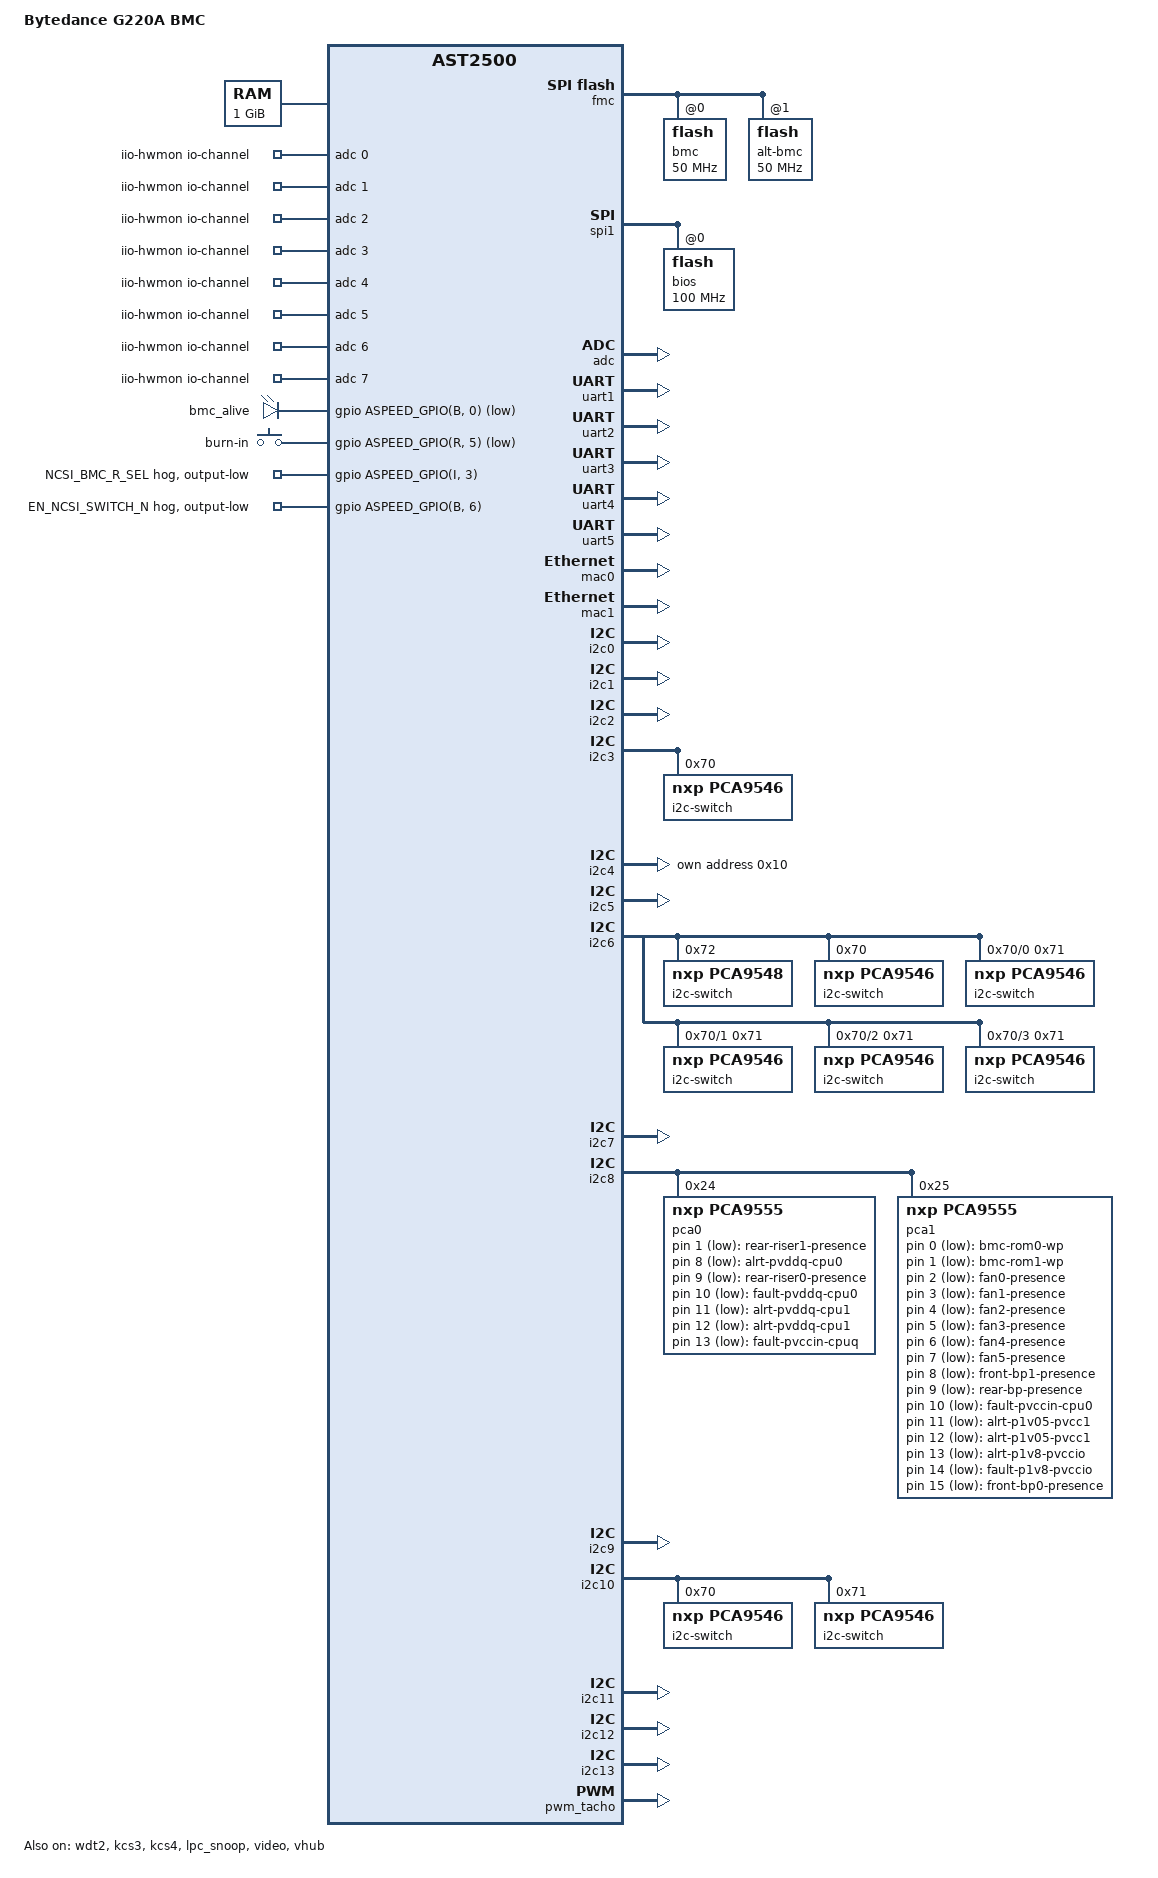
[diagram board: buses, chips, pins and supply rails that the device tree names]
// SPDX-License-Identifier: GPL-2.0+
// Copyright (C) 2020 Bytedance.
/dts-v1/;

#include "aspeed-g5.dtsi"
#include <dt-bindings/gpio/aspeed-gpio.h>
#include <dt-bindings/i2c/i2c.h>
#include <dt-bindings/leds/leds-pca955x.h>

/ {
	model = "Bytedance G220A BMC";
	compatible = "bytedance,g220a-bmc", "aspeed,ast2500";

	aliases {
		serial4 = &uart5;
		i2c14 = &channel_3_0;
		i2c15 = &channel_3_1;
		i2c16 = &channel_3_2;
		i2c17 = &channel_3_3;
		i2c18 = &channel_6_0;
		i2c19 = &channel_6_1;
		i2c20 = &channel_6_2;
		i2c21 = &channel_6_3;
		i2c22 = &channel_6_4;
		i2c23 = &channel_6_5;
		i2c24 = &channel_6_6;
		i2c25 = &channel_6_7;
		i2c26 = &channel_6_8;
		i2c27 = &channel_6_9;
		i2c28 = &channel_6_10;
		i2c29 = &channel_6_11;
		i2c30 = &channel_6_12;
		i2c31 = &channel_6_13;
		i2c32 = &channel_6_14;
		i2c33 = &channel_6_15;
		i2c34 = &channel_6_16;
		i2c35 = &channel_6_17;
		i2c36 = &channel_6_18;
		i2c37 = &channel_6_19;
		i2c38 = &channel_6_20;
		i2c39 = &channel_6_21;
		i2c40 = &channel_6_22;
		i2c41 = &channel_6_23;
		i2c42 = &channel_6_24;
		i2c43 = &channel_6_25;
		i2c44 = &channel_10_0;
		i2c45 = &channel_10_1;
		i2c46 = &channel_10_2;
		i2c47 = &channel_10_3;
		i2c48 = &channel_10_4;
		i2c49 = &channel_10_5;
		i2c50 = &channel_10_6;
		i2c51 = &channel_10_7;
	};

	chosen {
		stdout-path = &uart5;
		bootargs = "console=ttyS4,115200 earlycon";
	};

	memory@80000000 {
		reg = <0x80000000 0x40000000>;
	};

	reserved-memory {
		#address-cells = <1>;
		#size-cells = <1>;
		ranges;

		vga_memory: framebuffer@bc000000 {
			no-map;
			reg = <0xbc000000 0x04000000>; /* 64M */
		};

		video_engine_memory: jpegbuffer {
			size = <0x02000000>;	/* 32M */
			alignment = <0x01000000>;
			compatible = "shared-dma-pool";
			reusable;
		};
	};

	iio-hwmon {
		compatible = "iio-hwmon";
		io-channels = <&adc 0>, <&adc 1>, <&adc 2>, <&adc 3>,
			<&adc 4>, <&adc 5>, <&adc 6>, <&adc 7>,
			<&adc 8>, <&adc 9>, <&adc 10>, <&adc 11>,
			<&adc 12>, <&adc 13>, <&adc 14>, <&adc 15>;
	};

	leds {
		compatible = "gpio-leds";
		bmc_alive {
			label = "bmc_alive";
			gpios = <&gpio ASPEED_GPIO(B, 0) GPIO_ACTIVE_LOW>;
			linux,default-trigger = "timer";
			led-pattern = <1000 1000>;
		};
	};

	gpio-keys {
		compatible = "gpio-keys";
		burn-in-signal {
			label = "burn-in";
			gpios = <&gpio ASPEED_GPIO(R, 5) GPIO_ACTIVE_LOW>;
			linux,code = <ASPEED_GPIO(R, 5)>;
		};
	};

	gpio-keys-polled {
		compatible = "gpio-keys-polled";
		poll-interval = <1000>;

		rear-riser1-presence {
			label = "rear-riser1-presence";
			gpios = <&pca0 1 GPIO_ACTIVE_LOW>;
			linux,code = <1>;
		};

		alrt-pvddq-cpu0 {
			label = "alrt-pvddq-cpu0";
			gpios = <&pca0 8 GPIO_ACTIVE_LOW>;
			linux,code = <2>;
		};

		rear-riser0-presence {
			label = "rear-riser0-presence";
			gpios = <&pca0 9 GPIO_ACTIVE_LOW>;
			linux,code = <3>;
		};

		fault-pvddq-cpu0 {
			label = "fault-pvddq-cpu0";
			gpios = <&pca0 10 GPIO_ACTIVE_LOW>;
			linux,code = <4>;
		};

		alrt-pvddq-cpu1 {
			label = "alrt-pvddq-cpu1";
			gpios = <&pca0 11 GPIO_ACTIVE_LOW>;
			linux,code = <5>;
		};

		fault-pvddq-cpu1 {
			label = "alrt-pvddq-cpu1";
			gpios = <&pca0 12 GPIO_ACTIVE_LOW>;
			linux,code = <6>;
		};

		fault-pvccin-cpu1 {
			label = "fault-pvccin-cpuq";
			gpios = <&pca0 13 GPIO_ACTIVE_LOW>;
			linux,code = <7>;
		};

		bmc-rom0-wp {
			label = "bmc-rom0-wp";
			gpios = <&pca1 0 GPIO_ACTIVE_LOW>;
			linux,code = <8>;
		};

		bmc-rom1-wp {
			label = "bmc-rom1-wp";
			gpios = <&pca1 1 GPIO_ACTIVE_LOW>;
			linux,code = <9>;
		};

		fan0-presence {
			label = "fan0-presence";
			gpios = <&pca1 2 GPIO_ACTIVE_LOW>;
			linux,code = <10>;
		};

		fan1-presence {
			label = "fan1-presence";
			gpios = <&pca1 3 GPIO_ACTIVE_LOW>;
			linux,code = <11>;
		};

		fan2-presence {
			label = "fan2-presence";
			gpios = <&pca1 4 GPIO_ACTIVE_LOW>;
			linux,code = <12>;
		};

		fan3-presence {
			label = "fan3-presence";
			gpios = <&pca1 5 GPIO_ACTIVE_LOW>;
			linux,code = <13>;
		};

		fan4-presence {
			label = "fan4-presence";
			gpios = <&pca1 6 GPIO_ACTIVE_LOW>;
			linux,code = <14>;
		};

		fan5-presence {
			label = "fan5-presence";
			gpios = <&pca1 7 GPIO_ACTIVE_LOW>;
			linux,code = <15>;
		};

		front-bp1-presence {
			label = "front-bp1-presence";
			gpios = <&pca1 8 GPIO_ACTIVE_LOW>;
			linux,code = <16>;
		};

		rear-bp-presence {
			label = "rear-bp-presence";
			gpios = <&pca1 9 GPIO_ACTIVE_LOW>;
			linux,code = <17>;
		};

		fault-pvccin-cpu0 {
			label = "fault-pvccin-cpu0";
			gpios = <&pca1 10 GPIO_ACTIVE_LOW>;
			linux,code = <18>;
		};

		alrt-p1v05-pvcc {
			label = "alrt-p1v05-pvcc1";
			gpios = <&pca1 11 GPIO_ACTIVE_LOW>;
			linux,code = <19>;
		};

		fault-p1v05-pvccio {
			label = "alrt-p1v05-pvcc1";
			gpios = <&pca1 12 GPIO_ACTIVE_LOW>;
			linux,code = <20>;
		};

		alrt-p1v8-pvccio {
			label = "alrt-p1v8-pvccio";
			gpios = <&pca1 13 GPIO_ACTIVE_LOW>;
			linux,code = <21>;
		};

		fault-p1v8-pvccio {
			label = "fault-p1v8-pvccio";
			gpios = <&pca1 14 GPIO_ACTIVE_LOW>;
			linux,code = <22>;
		};

		front-bp0-presence {
			label = "front-bp0-presence";
			gpios = <&pca1 15 GPIO_ACTIVE_LOW>;
			linux,code = <23>;
		};
	};
};

&fmc {
	status = "okay";
	flash@0 {
		status = "okay";
		label = "bmc";
		m25p,fast-read;
		spi-max-frequency = <50000000>;
#include "openbmc-flash-layout-64.dtsi"
	};
	flash@1 {
		status = "okay";
		label = "alt-bmc";
		m25p,fast-read;
		spi-max-frequency = <50000000>;
#include "openbmc-flash-layout-64-alt.dtsi"
	};
};

&spi1 {
	status = "okay";
	pinctrl-names = "default";
	pinctrl-0 = <&pinctrl_spi1_default>;
	flash@0 {
		status = "okay";
		m25p,fast-read;
		label = "bios";
		spi-max-frequency = <100000000>;
	};
};

&adc {
	status = "okay";
};

&wdt2 {
	status = "okay";
	aspeed,alt-boot;
};

&gpio {
	status = "okay";
	gpio-line-names =
	/*A0-A7*/	"SMRST_OCP_N","MAC2_LINK","BMC_CPLD_SMB_RST_R_N","BMC_CPLD_GPIO0",
			"","","","",
	/*B0-B7*/	"BMC_INIT_R_OK","FM_BOARD_REV_ID2","FM_PROJECT_ID7","FAULT_P12V_STBY_N",
			"","CPU0_PROCHOT_LVT3_N","","BIOS_LOAD_DEFAULT_R_N",
	/*C0-C7*/	"","","","","","","","",
	/*D0-D7*/	"","","","","","","","",
	/*E0-E7*/	"FM_PROJECT_ID0","FM_PROJECT_ID1","FM_PROJECT_ID2","FM_PROJECT_ID3",
			"FM_PROJECT_ID4","FM_PROJECT_ID5","","",
	/*F0-F7*/	"PSU0_PRSNT_N","PSU1_PRSNT_N","","FAULT_P12V_NVME_N",
			"BIOS_DEBUG_MODE_R_N","DISABLE_CPU_DDR_R_SPD","COOLING_STRATEGY",
			"PCH_GLB_RST_N",
	/*G0-G7*/	"P12V_PMBUS_ALERT_N","CPLD_ALERT_N","BMC_RELOAD_N",
			"P12V_PVDDQ_PMBUS_ALERT_N","BMC_JTAG_TCK_MUX_R_SEL","","NMI_OUT",
			"NMI_BUTTON",
	/*H0-H7*/	"BMC_CPLD_JTAG_TDI","BMC_CPLD_JTAG_TDO","BMC_CPLD_JTAG_TCK",
			"BMC_CPLD_JTAG_TMS","FM_PROJECT_ID6","FM_BOARD_REV_ID0",
			"PCA9546_U70_RST_N","IRQ_SML0_ALERT_N",
	/*I0-I7*/	"FAULT_FRONT_RISER_P12V_N","FAULT_OCP_P12V_N","FM_BMC_PCH_SCI_R_N",
			"","","","","",
	/*J0-J7*/	"FM_CPU0_SKTOCC_N","FM_CPU1_SKTOCC_N","FM_CPU1_DISABLE_COD_N",
			"","","","","",
	/*K0-K7*/	"","","","","","","","",
	/*L0-L7*/	"P12V_FAULT_N","PWRGD_P12V_PCIE_RISER","","LEAKAGE_DETECT_INPUT_N",
			"","IRQ_SML1_PMBUS_ALERT_N","","",
	/*M0-M7*/	"","","","","","","","",
	/*N0-N7*/	"","","","","","","","",
	/*O0-O7*/	"","","","","","","","",
	/*P0-P7*/	"","","","","","","","",
	/*Q0-Q7*/	"","","","","","","FM_PCH_THERMTRIP_N","CHASSIS_INTRUSION",
	/*R0-R7*/	"","PVCCIN_CPU1_SMBALERT_N","BMC_PREQ_R_N","FAULT_P12V_PCIE_RISER_N",
			"ALT_P12V_PCIE_RISER_N","BURN_BOARD_N","PVCCIN_CPU0_SMBALERT_N","",
	/*S0-S7*/	"BMC_PRDY_N","SIO_POWER_GOOD","FM_BMC_PWR_DEBUG_R_N",
			"FM_BMC_XDP_DEBUG_EN","","STRAP_BMC_BATTERY_GPIOS5","","",
	/*T0-T7*/	"","","","","","","","",
	/*U0-U7*/	"","","","","","","","",
	/*V0-V7*/	"","","","","","","","",
	/*W0-W7*/	"","","","","","","","",
	/*X0-X7*/	"","","","","","","","",
	/*Y0-Y7*/	"","PWRGD_PSU0_PWROK","CPU1_PROCHOT_LVT3_N","IRQ_BMC_PCH_SMI_LPC_N",
			"","","","",
	/*Z0-Z7*/	"XDP_PRSNT_N","BMC_XDP_SYS_PWROK","BMC_XDP_JTAG_SEL",
			"PCH_BMC_SMI_ACTIVE_R_N","","","","",
	/*AA0-AA7*/	"PWRGD_P12V_STBY_OCP","PS_PWROK","RST_PLTRST_BMC_R_N","HDA_SDO_R",
			"FM_SLPS4_R_N","PWRGD_PSU1_PWROK","POWER_BUTTON","POWER_OUT",
	/*AB0-AB7*/	"","RESET_OUT","SPI_BIOS_MODE_SELECT","POST_COMPLETE","","","","",
	/*AC0-AC7*/	"","","","","","","","CPLD_PLTRST_B_N";
};

&kcs3 {
	aspeed,lpc-io-reg = <0xCA2>;
	status = "okay";
};

&kcs4 {
	aspeed,lpc-io-reg = <0xCA4>;
	status = "okay";
};

&lpc_snoop {
	snoop-ports = <0x80>;
	status = "okay";
};

&uart1 {
	status = "okay";
	pinctrl-names = "default";
	pinctrl-0 = <&pinctrl_txd1_default
			&pinctrl_rxd1_default
			&pinctrl_nrts1_default
			&pinctrl_ndtr1_default
			&pinctrl_ndsr1_default
			&pinctrl_ncts1_default
			&pinctrl_ndcd1_default
			&pinctrl_nri1_default>;
};

&uart2 {
	status = "okay";
	pinctrl-names = "default";
	pinctrl-0 = <&pinctrl_txd2_default
			&pinctrl_rxd2_default
			&pinctrl_nrts2_default
			&pinctrl_ndtr2_default
			&pinctrl_ndsr2_default
			&pinctrl_ncts2_default
			&pinctrl_ndcd2_default
			&pinctrl_nri2_default>;
};

&uart3 {
	status = "okay";
};

&uart4 {
	status = "okay";
};

&uart5 {
	status = "okay";
};

&mac0 {
	status = "okay";
	pinctrl-names = "default";
	pinctrl-0 = <&pinctrl_rmii1_default>;
	clocks = <&syscon ASPEED_CLK_GATE_MAC1CLK>,
		 <&syscon ASPEED_CLK_MAC1RCLK>;
	clock-names = "MACCLK", "RCLK";
	use-ncsi;
};

&mac1 {
	status = "okay";
	pinctrl-names = "default";
	pinctrl-0 = <&pinctrl_rgmii2_default &pinctrl_mdio2_default>;
};

&i2c0 {
	status = "okay";
};

&i2c1 {
	status = "okay";
};

&i2c2 {
	status = "okay";
};

&i2c3 {
	status = "okay";
	i2c-switch@70 {
		compatible = "nxp,pca9546";
		reg = <0x70>;
		#address-cells = <1>;
		#size-cells = <0>;

		channel_3_0: i2c@0 {
			#address-cells = <1>;
			#size-cells = <0>;
			reg = <0>;
		};

		channel_3_1: i2c@1 {
			#address-cells = <1>;
			#size-cells = <0>;
			reg = <1>;
		};

		channel_3_2: i2c@2 {
			#address-cells = <1>;
			#size-cells = <0>;
			reg = <2>;
		};

		channel_3_3: i2c@3 {
			#address-cells = <1>;
			#size-cells = <0>;
			reg = <3>;
		};
	};
};

&i2c4 {
	status = "okay";
	ipmb0@10 {
		compatible = "ipmb-dev";
		reg = <(0x10 | I2C_OWN_SLAVE_ADDRESS)>;
		i2c-protocol;
	};
};

&i2c5 {
	status = "okay";
};

&i2c6 {
	status = "okay";
	i2c-switch@72 {
		compatible = "nxp,pca9548";
		reg = <0x72>;
		#address-cells = <1>;
		#size-cells = <0>;
		channel_6_0: i2c@0 {
			#address-cells = <1>;
			#size-cells = <0>;
			reg = <0>;
		};

		channel_6_1: i2c@1 {
			#address-cells = <1>;
			#size-cells = <0>;
			reg = <1>;
		};

		channel_6_2: i2c@2 {
			#address-cells = <1>;
			#size-cells = <0>;
			reg = <2>;
		};

		channel_6_3: i2c@3 {
			#address-cells = <1>;
			#size-cells = <0>;
			reg = <3>;
		};
		channel_6_4: i2c@4 {
			#address-cells = <1>;
			#size-cells = <0>;
			reg = <4>;
		};

		channel_6_5: i2c@5 {
			#address-cells = <1>;
			#size-cells = <0>;
			reg = <5>;
		};

		channel_6_6: i2c@6 {
			#address-cells = <1>;
			#size-cells = <0>;
			reg = <6>;
		};

		channel_6_7: i2c@7 {
			#address-cells = <1>;
			#size-cells = <0>;
			reg = <7>;
		};
	};

	i2c-switch@70 {
		compatible = "nxp,pca9546";
		reg = <0x70>;
		#address-cells = <1>;
		#size-cells = <0>;
		channel_6_8: i2c@0 {
			#address-cells = <1>;
			#size-cells = <0>;
			reg = <0>;
			i2c-switch@71 {
				compatible = "nxp,pca9546";
				reg = <0x71>;
				#address-cells = <1>;
				#size-cells = <0>;
				channel_6_12: i2c@0 {
					#address-cells = <1>;
					#size-cells = <0>;
					reg = <0>;

				};

				channel_6_13: i2c@1 {
					#address-cells = <1>;
					#size-cells = <0>;
					reg = <1>;
				};

				channel_6_14: i2c@2 {
					#address-cells = <1>;
					#size-cells = <0>;
					reg = <2>;
				};

				channel_6_15: i2c@3 {
					#address-cells = <1>;
					#size-cells = <0>;
					reg = <3>;
				};
			};
		 };

		channel_6_9: i2c@1 {
			#address-cells = <1>;
			#size-cells = <0>;
			reg = <1>;
			i2c-switch@71 {
				compatible = "nxp,pca9546";
				reg = <0x71>;
				#address-cells = <1>;
				#size-cells = <0>;
				channel_6_16: i2c@0 {
					#address-cells = <1>;
					#size-cells = <0>;
					reg = <0>;

				};

				channel_6_17: i2c@1 {
					#address-cells = <1>;
					#size-cells = <0>;
					reg = <1>;
				};

				channel_6_18: i2c@2 {
					#address-cells = <1>;
					#size-cells = <0>;
					reg = <2>;
				};

				channel_6_19: i2c@3 {
					#address-cells = <1>;
					#size-cells = <0>;
					reg = <3>;
				};
			};
		 };

		channel_6_10: i2c@2 {
			#address-cells = <1>;
			#size-cells = <0>;
			reg = <2>;
			i2c-switch@71 {
				compatible = "nxp,pca9546";
				reg = <0x71>;
				#address-cells = <1>;
				#size-cells = <0>;
				channel_6_20: i2c@0 {
					#address-cells = <1>;
					#size-cells = <0>;
					reg = <0>;
				};

				channel_6_21: i2c@1 {
					#address-cells = <1>;
					#size-cells = <0>;
					reg = <1>;
				};

				channel_6_22: i2c@2 {
					#address-cells = <1>;
					#size-cells = <0>;
					reg = <2>;
				};

				channel_6_23: i2c@3 {
					#address-cells = <1>;
					#size-cells = <0>;
					reg = <3>;
				};
			};
		 };

		channel_6_11: i2c@3 {
			#address-cells = <1>;
			#size-cells = <0>;
			reg = <3>;
			i2c-switch@71 {
				compatible = "nxp,pca9546";
				reg = <0x71>;
				#address-cells = <1>;
				#size-cells = <0>;
				channel_6_24: i2c@0 {
					#address-cells = <1>;
					#size-cells = <0>;
					reg = <0>;
				};

				channel_6_25: i2c@1 {
					#address-cells = <1>;
					#size-cells = <0>;
					reg = <1>;
				};
			 };
		};
	};
};

&i2c7 {
	status = "okay";
};

&i2c8 {
	status = "okay";
	pca0:pca9555@24 {
		compatible = "nxp,pca9555";
		reg = <0x24>;
		#address-cells = <1>;
		#size-cells = <0>;

		gpio-controller;
		#gpio-cells = <2>;
		gpio@1 {
			reg = <1>;
			type = <PCA955X_TYPE_GPIO>;
		};

		gpio@8 {
			reg = <8>;
			type = <PCA955X_TYPE_GPIO>;
		};

		gpio@9 {
			reg = <9>;
			type = <PCA955X_TYPE_GPIO>;
		};

		gpio@10 {
			reg = <10>;
			type = <PCA955X_TYPE_GPIO>;
		};

		gpio@11 {
			reg = <11>;
			type = <PCA955X_TYPE_GPIO>;
		};

		gpio@12 {
			reg = <12>;
			type = <PCA955X_TYPE_GPIO>;
		};

		gpio@13 {
			reg = <13>;
			type = <PCA955X_TYPE_GPIO>;
		};
	};

	pca1:pca9555@25 {
		compatible = "nxp,pca9555";
		reg = <0x25>;

		#address-cells = <1>;
		#size-cells = <0>;

		gpio-controller;
		#gpio-cells = <2>;

		gpio@0 {
			reg = <0>;
			type = <PCA955X_TYPE_GPIO>;
		};

		gpio@1 {
			reg = <1>;
			type = <PCA955X_TYPE_GPIO>;
		};

		gpio@2 {
			reg = <2>;
			type = <PCA955X_TYPE_GPIO>;
		};

		gpio@3 {
			reg = <3>;
			type = <PCA955X_TYPE_GPIO>;
		};

		gpio@4 {
			reg = <4>;
			type = <PCA955X_TYPE_GPIO>;
		};

		gpio@5 {
			reg = <5>;
			type = <PCA955X_TYPE_GPIO>;
		};

		gpio@6 {
			reg = <6>;
			type = <PCA955X_TYPE_GPIO>;
		};

		gpio@7 {
			reg = <7>;
			type = <PCA955X_TYPE_GPIO>;
		};
		gpio@8 {
			reg = <8>;
			type = <PCA955X_TYPE_GPIO>;
		};

		gpio@9 {
			reg = <9>;
			type = <PCA955X_TYPE_GPIO>;
		};

		gpio@10 {
			reg = <10>;
			type = <PCA955X_TYPE_GPIO>;
		};

		gpio@11 {
			reg = <11>;
			type = <PCA955X_TYPE_GPIO>;
		};

		gpio@12 {
			reg = <12>;
			type = <PCA955X_TYPE_GPIO>;
		};

		gpio@13 {
			reg = <13>;
			type = <PCA955X_TYPE_GPIO>;
		};

		gpio@14 {
			reg = <14>;
			type = <PCA955X_TYPE_GPIO>;
		};

		gpio@15 {
			reg = <15>;
			type = <PCA955X_TYPE_GPIO>;
		};
	};
};

&i2c9 {
	status = "okay";
};

&i2c10 {
	status = "okay";
	i2c-switch@70 {
		compatible = "nxp,pca9546";
		reg = <0x70>;
		#address-cells = <1>;
		#size-cells = <0>;
		channel_10_0: i2c@0 {
			#address-cells = <1>;
			#size-cells = <0>;
			reg = <0>;
		};

		channel_10_1: i2c@1 {
			#address-cells = <1>;
			#size-cells = <0>;
			reg = <1>;
		};

		channel_10_2: i2c@2 {
			#address-cells = <1>;
			#size-cells = <0>;
			reg = <2>;
		};

		channel_10_3: i2c@3 {
			#address-cells = <1>;
			#size-cells = <0>;
			reg = <3>;
		};
	};

	i2c-switch@71 {
		compatible = "nxp,pca9546";
		reg = <0x71>;
		#address-cells = <1>;
		#size-cells = <0>;
		channel_10_4: i2c@0 {
			#address-cells = <1>;
			#size-cells = <0>;
			reg = <0>;
		};

		channel_10_5: i2c@1 {
			#address-cells = <1>;
			#size-cells = <0>;
			reg = <1>;
		};

		channel_10_6: i2c@2 {
			#address-cells = <1>;
			#size-cells = <0>;
			reg = <2>;
		};

		channel_10_7: i2c@3 {
			#address-cells = <1>;
			#size-cells = <0>;
			reg = <3>;
		};
	};
};

&i2c11 {
	status = "okay";
};

&i2c12 {
	status = "okay";
};

&i2c13 {
	status = "okay";
};

&pwm_tacho {
	status = "okay";
	pinctrl-names = "default";
	pinctrl-0 = <&pinctrl_pwm0_default &pinctrl_pwm1_default
			 &pinctrl_pwm2_default &pinctrl_pwm3_default
			 &pinctrl_pwm4_default &pinctrl_pwm5_default>;

	fan@0 {
		reg = <0x00>;
		aspeed,fan-tach-ch = /bits/ 8 <0x00 0x01>;
	};
	fan@1 {
		reg = <0x01>;
		aspeed,fan-tach-ch = /bits/ 8 <0x02 0x03>;
	};
	fan@2 {
		reg = <0x02>;
		aspeed,fan-tach-ch = /bits/ 8 <0x04 0x05>;
	};
	fan@3 {
		reg = <0x03>;
		aspeed,fan-tach-ch = /bits/ 8 <0x06 0x07>;
	};
	fan@4 {
		reg = <0x04>;
		aspeed,fan-tach-ch = /bits/ 8 <0x08 0x09>;
	};
	fan@5 {
		reg = <0x05>;
		aspeed,fan-tach-ch = /bits/ 8 <0x0a 0x0b>;
	};
};

&gpio {
	pin_gpio_i3 {
		gpio-hog;
		gpios = <ASPEED_GPIO(I, 3) GPIO_ACTIVE_HIGH>;
		output-low;
		line-name = "NCSI_BMC_R_SEL";
	};

	pin_gpio_b6 {
		gpio-hog;
		gpios = <ASPEED_GPIO(B, 6) GPIO_ACTIVE_HIGH>;
		output-low;
		line-name = "EN_NCSI_SWITCH_N";
	};
};

&video {
	status = "okay";
	memory-region = <&video_engine_memory>;
};

&vhub {
	status = "okay";
};
